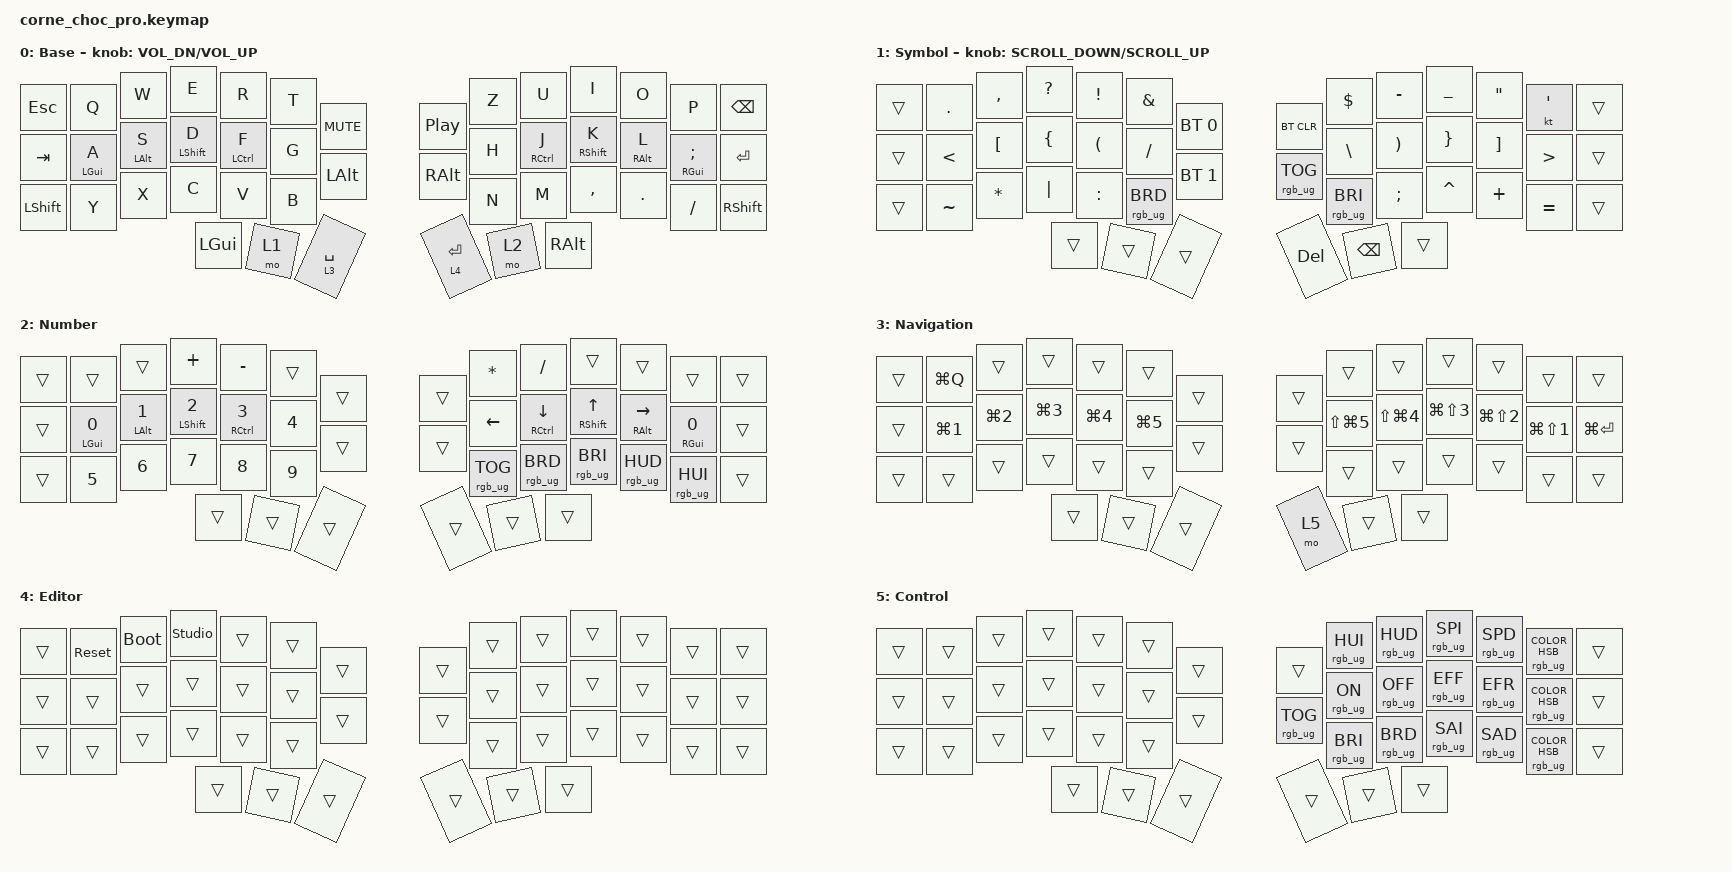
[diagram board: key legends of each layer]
/*
 * Copyright (c) 2020 The ZMK Contributors
 *
 * SPDX-License-Identifier: MIT
 */

#include <behaviors.dtsi>
#include <dt-bindings/zmk/bt.h>
#include <dt-bindings/zmk/keys.h>
#include <dt-bindings/zmk/rgb.h>

#define BASE    0
#define SYMBOL  1
#define NUM     2
#define NAV     3
#define EDIT    4

/ {
    behaviors {
        hrm: hrm {
            compatible = "zmk,behavior-hold-tap";
            label = "HRM";
            bindings = <&kp>, <&kp>;

            #binding-cells = <2>;
            tapping-term-ms = <280>;
            quick-tap-ms = <175>;
            require-prior-idle-ms = <150>;
            flavor = "balanced";
        };
    };

    keymap {
        compatible = "zmk,keymap";

        base_layer {
            display-name = "Base";

            // --------------------------------------------------------------------------------
            // |  ESC |  Q  |  W  |  E  |  R  |  T  |  MUTE |  PP   |  Z  |  U   |  I  |  O  |  P  | BSPC  |
            // | CTRL |  A  |  S  |  D  |  F  |  G  |  LALT |  RALT |  H  |  J   |  K  |  L  |  ;  | RET   |
            // | SHFT |  Y  |  X  |  C  |  V  |  B  |               |  N  |  M   |  ,  |  .  |  /  | SHIFT |
            //                    | GUI | LWR | SPC |               | ENT | RSE  | ALT |

            bindings = <
&kp ESCAPE  &kp Q            &kp W            &kp E         &kp R                &kp T        &kp C_MUTE  &kp C_PP  &kp Z        &kp U                 &kp I         &kp O             &kp P                &kp BSPC
&kp TAB     &hrm LEFT_GUI A  &hrm LEFT_ALT S  &hrm LSHFT D  &hrm LEFT_CONTROL F  &kp G        &kp LALT    &kp RALT  &kp H        &hrm RIGHT_CONTROL J  &hrm RSHFT K  &hrm RIGHT_ALT L  &hrm RIGHT_GUI SEMI  &kp RET
&kp LSHFT   &kp Y            &kp X            &kp C         &kp V                &kp B                              &kp N        &kp M                 &kp COMMA     &kp DOT           &kp FSLH             &kp RSHIFT
                                              &kp LGUI      &mo 1                &lt 3 SPACE                        &lt 4 ENTER  &mo 2                 &kp RALT
            >;

            sensor-bindings = <&inc_dec_kp C_VOL_DN C_VOL_UP>;
        };

        sym_layer {
            display-name = "Symbol";
            bindings = <
&trans  &kp DOT        &kp COMMA         &kp QUESTION    &kp EXCLAMATION       &kp AMPERSAND    &bt BT_SEL 0  &bt BT_CLR       &kp DOLLAR       &kp MINUS              &kp UNDERSCORE   &kp DOUBLE_QUOTES  &kt SQT           &trans
&trans  &kp LESS_THAN  &kp LEFT_BRACKET  &kp LEFT_BRACE  &kp LEFT_PARENTHESIS  &kp SLASH        &bt BT_SEL 1  &rgb_ug RGB_TOG  &kp BACKSLASH    &kp RIGHT_PARENTHESIS  &kp RIGHT_BRACE  &kp RIGHT_BRACKET  &kp GREATER_THAN  &trans
&trans  &kp TILDE      &kp ASTERISK      &kp PIPE        &kp COLON             &rgb_ug RGB_BRD                                 &rgb_ug RGB_BRI  &kp SEMI               &kp CARET        &kp PLUS           &kp EQUAL         &trans
                                         &trans          &trans                &trans                                          &kp DELETE       &kp BACKSPACE          &trans
            >;

            sensor-bindings = <&inc_dec_kp K_SCROLL_DOWN K_SCROLL_UP>;
        };

        Number {
            bindings = <
&trans  &trans              &trans              &kp PLUS              &kp MINUS                    &trans        &trans  &trans  &kp ASTERISK     &kp SLASH                      &trans                     &trans                      &trans             &trans
&trans  &hrm LGUI NUMBER_0  &hrm LALT NUMBER_1  &hrm LSHIFT NUMBER_2  &hrm RIGHT_CONTROL NUMBER_3  &kp NUMBER_4  &trans  &trans  &kp LEFT         &hrm RIGHT_CONTROL DOWN_ARROW  &hrm RIGHT_SHIFT UP_ARROW  &hrm RIGHT_ALT RIGHT_ARROW  &hrm RIGHT_GUI N0  &trans
&trans  &kp NUMBER_5        &kp NUMBER_6        &kp NUMBER_7          &kp NUMBER_8                 &kp NUMBER_9                  &rgb_ug RGB_TOG  &rgb_ug RGB_BRD                &rgb_ug RGB_BRI            &rgb_ug RGB_HUD             &rgb_ug RGB_HUI    &trans
                                                &trans                &trans                       &trans                        &trans           &trans                         &trans
            >;
        };

        Navigation {
            bindings = <
&trans  &kp LG(Q)         &trans            &trans            &trans            &trans            &trans  &trans  &trans                &trans                &trans                &trans                &trans                &trans
&trans  &kp LG(NUMBER_1)  &kp LG(NUMBER_2)  &kp LG(NUMBER_3)  &kp LG(NUMBER_4)  &kp LG(NUMBER_5)  &trans  &trans  &kp LS(LG(NUMBER_5))  &kp LS(LG(NUMBER_4))  &kp LG(LS(NUMBER_3))  &kp LG(LS(NUMBER_2))  &kp LG(LS(NUMBER_1))  &kp LG(ENTER)
&trans  &trans            &trans            &trans            &trans            &trans                            &trans                &trans                &trans                &trans                &trans                &trans
                                            &trans            &trans            &trans                            &mo 5                 &trans                &trans
            >;
        };

        Editor {
            bindings = <
&trans  &sys_reset  &bootloader  &studio_unlock  &trans  &trans  &trans  &trans  &trans  &trans  &trans  &trans  &trans  &trans
&trans  &trans      &trans       &trans          &trans  &trans  &trans  &trans  &trans  &trans  &trans  &trans  &trans  &trans
&trans  &trans      &trans       &trans          &trans  &trans                  &trans  &trans  &trans  &trans  &trans  &trans
                                 &trans          &trans  &trans                  &trans  &trans  &trans
            >;
        };

        Control {
            bindings = <
&trans  &trans  &trans  &trans  &trans  &trans  &trans  &trans           &rgb_ug RGB_HUI  &rgb_ug RGB_HUD  &rgb_ug RGB_SPI  &rgb_ug RGB_SPD  &rgb_ug RGB_COLOR_HSB(209,68,51)  &trans
&trans  &trans  &trans  &trans  &trans  &trans  &trans  &rgb_ug RGB_TOG  &rgb_ug RGB_ON   &rgb_ug RGB_OFF  &rgb_ug RGB_EFF  &rgb_ug RGB_EFR  &rgb_ug RGB_COLOR_HSB(0,42,45)    &trans
&trans  &trans  &trans  &trans  &trans  &trans                           &rgb_ug RGB_BRI  &rgb_ug RGB_BRD  &rgb_ug RGB_SAI  &rgb_ug RGB_SAD  &rgb_ug RGB_COLOR_HSB(272,58,50)  &trans
                        &trans  &trans  &trans                           &trans           &trans           &trans
            >;
        };
    };
};
